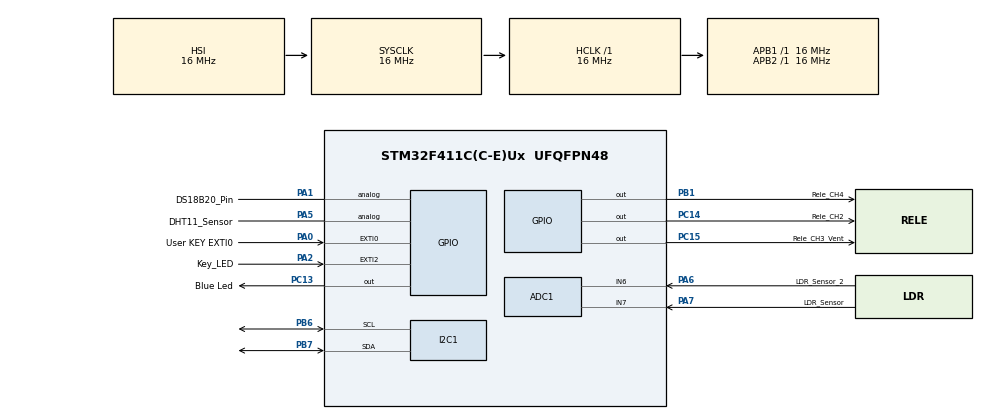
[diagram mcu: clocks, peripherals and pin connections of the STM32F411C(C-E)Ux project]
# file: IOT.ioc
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ADC1.Channel-3\#ChannelRegularConversion=ADC_CHANNEL_6
ADC1.Channel-4\#ChannelRegularConversion=ADC_CHANNEL_7
ADC1.ContinuousConvMode=DISABLE
ADC1.NbrOfConversion=2
ADC1.NbrOfConversionFlag=1
ADC1.Rank-3\#ChannelRegularConversion=1
ADC1.Rank-4\#ChannelRegularConversion=2
ADC1.SamplingTime-3\#ChannelRegularConversion=ADC_SAMPLETIME_3CYCLES
ADC1.SamplingTime-4\#ChannelRegularConversion=ADC_SAMPLETIME_3CYCLES
ADC1.ScanConvMode=ENABLE
ADC1.master=1
Dma.ADC1.0.Direction=DMA_PERIPH_TO_MEMORY
Dma.ADC1.0.FIFOMode=DMA_FIFOMODE_DISABLE
Dma.ADC1.0.Instance=DMA2_Stream0
Dma.ADC1.0.MemDataAlignment=DMA_MDATAALIGN_WORD
Dma.ADC1.0.MemInc=DMA_MINC_ENABLE
Dma.ADC1.0.Mode=DMA_CIRCULAR
Dma.ADC1.0.PeriphDataAlignment=DMA_PDATAALIGN_WORD
Dma.ADC1.0.PeriphInc=DMA_PINC_DISABLE
Dma.ADC1.0.Priority=DMA_PRIORITY_LOW
Dma.Request0=ADC1
FREERTOS.Mutexes01=LDR1Mutex,Dynamic,NULL,Available;LDR2Mutex,Dynamic,NULL,Available;DHT11Mutex,Dynamic,NULL,Available;DS18B20Mutex,Dynamic,NULL,Available
FREERTOS.Tasks01=defaultTask,24,128,StartDefaultTask,Default,NULL,Dynamic,NULL,NULL;ReleCH1Task,8,128,StartReleCH1Task,Default,NULL,Dynamic,NULL,NULL;ReleCH2Task,8,128,StartReleCH2Task,Default,NULL,Dynamic,NULL,NULL;ReleCH3Task,8,128,StartReleCH3Task,Default,NULL,Dynamic,NULL,NULL;ReleCH4Task,8,128,StartTeleCH4Task,Default,NULL,Dynamic,NULL,NULL
I2C1.I2C_Mode=I2C_Fast
Mcu.Family=STM32F4
Mcu.Name=STM32F411C(C-E)Ux
Mcu.Package=UFQFPN48
NVIC.ADC_IRQn=true\:5\:0\:false\:false\:true\:true\:true\:true\:true
NVIC.DMA2_Stream0_IRQn=true\:5\:0\:false\:false\:true\:true\:false\:true\:true
NVIC.EXTI0_IRQn=true\:5\:0\:false\:false\:true\:true\:true\:true\:true
NVIC.EXTI2_IRQn=true\:5\:0\:false\:false\:true\:true\:true\:true\:true
NVIC.I2C1_ER_IRQn=true\:5\:0\:false\:false\:true\:true\:true\:true\:true
NVIC.I2C1_EV_IRQn=true\:5\:0\:false\:false\:true\:true\:true\:true\:true
NVIC.PriorityGroup=NVIC_PRIORITYGROUP_4
NVIC.TIM1_UP_TIM10_IRQn=true\:15\:0\:false\:false\:true\:false\:false\:true\:true
NVIC.TIM2_IRQn=true\:15\:0\:false\:false\:true\:false\:true\:true\:true
NVIC.TimeBase=TIM1_UP_TIM10_IRQn
NVIC.TimeBaseIP=TIM10
PA0-WKUP.GPIO_Label=User KEY EXTI0
PA0-WKUP.GPIO_ModeDefaultEXTI=GPIO_MODE_IT_FALLING
PA0-WKUP.GPIO_PuPd=GPIO_PULLUP
PA0-WKUP.Signal=GPXTI0
PA1.GPIO_Label=DS18B20_Pin
PA1.Signal=GPIO_Analog
PA13.Mode=Serial_Wire
PA13.Signal=SYS_JTMS-SWDIO
PA14.Mode=Serial_Wire
PA14.Signal=SYS_JTCK-SWCLK
PA2.GPIO_Label=Key_LED
PA2.Signal=GPXTI2
PA5.GPIO_Label=DHT11_Sensor
PA5.Signal=GPIO_Analog
PA6.GPIO_Label=LDR_Sensor_2
PA6.Signal=SharedAnalog_PA6
PA7.GPIO_Label=LDR_Sensor
PA7.Signal=SharedAnalog_PA7
PB1.GPIO_Label=Rele_CH4
PB1.GPIO_ModeDefaultOutputPP=GPIO_MODE_OUTPUT_OD
PB1.GPIO_PuPd=GPIO_NOPULL
PB1.PinState=GPIO_PIN_SET
PB1.Signal=GPIO_Output
PB6.Mode=I2C
PB6.Signal=I2C1_SCL
PB7.Mode=I2C
PB7.Signal=I2C1_SDA
PC13-ANTI_TAMP.GPIO_Label=Blue Led
PC13-ANTI_TAMP.GPIO_ModeDefaultOutputPP=GPIO_MODE_OUTPUT_OD
PC13-ANTI_TAMP.GPIO_PuPd=GPIO_NOPULL
PC13-ANTI_TAMP.PinState=GPIO_PIN_SET
PC13-ANTI_TAMP.Signal=GPIO_Output
PC14-OSC32_IN.GPIO_Label=Rele_CH2
PC14-OSC32_IN.GPIO_ModeDefaultOutputPP=GPIO_MODE_OUTPUT_OD
PC14-OSC32_IN.GPIO_PuPd=GPIO_NOPULL
PC14-OSC32_IN.PinState=GPIO_PIN_SET
PC14-OSC32_IN.Signal=GPIO_Output
PC15-OSC32_OUT.GPIO_Label=Rele_CH3_Vent
PC15-OSC32_OUT.GPIO_ModeDefaultOutputPP=GPIO_MODE_OUTPUT_OD
PC15-OSC32_OUT.GPIO_PuPd=GPIO_NOPULL
PC15-OSC32_OUT.PinState=GPIO_PIN_SET
PC15-OSC32_OUT.Signal=GPIO_Output
PH0\ -\ OSC_IN.Mode=HSE-External-Oscillator
PH0\ -\ OSC_IN.Signal=RCC_OSC_IN
PH1\ -\ OSC_OUT.Mode=HSE-External-Oscillator
PH1\ -\ OSC_OUT.Signal=RCC_OSC_OUT
ProjectManager.HeapSize=0x200
ProjectManager.StackSize=0x400
ProjectManager.TargetToolchain=CMake
RCC.48MHZClocksFreq_Value=50000000
RCC.AHBFreq_Value=16000000
RCC.APB1Freq_Value=16000000
RCC.APB1TimFreq_Value=16000000
RCC.APB2Freq_Value=16000000
RCC.APB2TimFreq_Value=16000000
RCC.CortexFreq_Value=16000000
RCC.HCLKFreq_Value=16000000
RCC.HSE_VALUE=25000000
RCC.HSI_VALUE=16000000
RCC.LSE_VALUE=32768
RCC.PLLM=8
RCC.PLLN=100
RCC.SYSCLKFreq_VALUE=16000000
RCC.VCOOutputFreq_Value=200000000
SH.SharedAnalog_PA6.0=GPIO_Analog
SH.SharedAnalog_PA6.1=ADC1_IN6,IN6
SH.SharedAnalog_PA7.0=GPIO_Analog
SH.SharedAnalog_PA7.1=ADC1_IN7,IN7
TIM2.AutoReloadPreload=TIM_AUTORELOAD_PRELOAD_ENABLE
TIM2.Period=16000-1
TIM2.Prescaler=0
VP_FREERTOS_VS_CMSIS_V2.Mode=CMSIS_V2
VP_SYS_VS_tim10.Mode=TIM10
VP_TIM2_VS_ClockSourceINT.Mode=Internal
board=custom

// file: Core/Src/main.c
/* USER CODE BEGIN Header */
/**
  ******************************************************************************
  * @file           : main.c
  * @brief          : Main program body
  ******************************************************************************
  * @attention
  *
  * Copyright (c) 2025 STMicroelectronics.
  * All rights reserved.
  *
  * This software is licensed under terms that can be found in the LICENSE file
  * in the root directory of this software component.
  * If no LICENSE file comes with this software, it is provided AS-IS.
  *
  ******************************************************************************
  */
/* USER CODE END Header */
#include "main.h"
#include "cmsis_os.h"

/* USER CODE BEGIN Includes */
#include <stdbool.h>
//#include "DS18B20.hpp"
#include <stdio.h>
/* USER CODE END Includes */

/* USER CODE BEGIN PTD */
//#define DS18B20_GPIO_Port GPIOA
//#define DS18B20_Pin GPIO_PIN_1

/* USER CODE END PTD */

ADC_HandleTypeDef hadc1;
DMA_HandleTypeDef hdma_adc1;

I2C_HandleTypeDef hi2c1;

TIM_HandleTypeDef htim2;

/* Definitions for defaultTask */
osThreadId_t defaultTaskHandle;
const osThreadAttr_t defaultTask_attributes = {
  .name = "defaultTask",
  .stack_size = 128 * 4,
  .priority = (osPriority_t) osPriorityNormal,
};
/* Definitions for ReleCH1Task */
osThreadId_t ReleCH1TaskHandle;
const osThreadAttr_t ReleCH1Task_attributes = {
  .name = "ReleCH1Task",
  .stack_size = 128 * 4,
  .priority = (osPriority_t) osPriorityLow,
};
/* Definitions for ReleCH2Task */
osThreadId_t ReleCH2TaskHandle;
const osThreadAttr_t ReleCH2Task_attributes = {
  .name = "ReleCH2Task",
  .stack_size = 128 * 4,
  .priority = (osPriority_t) osPriorityLow,
};
/* Definitions for ReleCH3Task */
osThreadId_t ReleCH3TaskHandle;
const osThreadAttr_t ReleCH3Task_attributes = {
  .name = "ReleCH3Task",
  .stack_size = 128 * 4,
  .priority = (osPriority_t) osPriorityLow,
};
/* Definitions for ReleCH4Task */
osThreadId_t ReleCH4TaskHandle;
const osThreadAttr_t ReleCH4Task_attributes = {
  .name = "ReleCH4Task",
  .stack_size = 128 * 4,
  .priority = (osPriority_t) osPriorityLow,
};
/* Definitions for LDR1Mutex */
osMutexId_t LDR1MutexHandle;
const osMutexAttr_t LDR1Mutex_attributes = {
  .name = "LDR1Mutex"
};
/* Definitions for LDR2Mutex */
osMutexId_t LDR2MutexHandle;
const osMutexAttr_t LDR2Mutex_attributes = {
  .name = "LDR2Mutex"
};
/* Definitions for DHT11Mutex */
osMutexId_t DHT11MutexHandle;
const osMutexAttr_t DHT11Mutex_attributes = {
  .name = "DHT11Mutex"
};
/* Definitions for DS18B20Mutex */
osMutexId_t DS18B20MutexHandle;
const osMutexAttr_t DS18B20Mutex_attributes = {
  .name = "DS18B20Mutex"
};
/* USER CODE BEGIN PV */
bool BLUELED = 0;
bool LED_Test;
int LDRSENSOR, LDRSENSOR2;
float DS18B20_Sensor = 0.0f;
float temperature = 0.0f;
uint32_t adc_value = 0; // Variável para armazenar o valor do ADC
uint32_t AD_RES_BUFFER[2];
uint32_t ADC1IN6, ADC1IN7;
float voltage6, voltage7;
//uint32_t sensorA,sensorB;
/* USER CODE END PV */

void SystemClock_Config(void);
static void MX_GPIO_Init(void);
static void MX_DMA_Init(void);
static void MX_ADC1_Init(void);
static void MX_TIM2_Init(void);
static void MX_I2C1_Init(void);
void StartDefaultTask(void *argument);
void StartReleCH1Task(void *argument);
void StartReleCH2Task(void *argument);
void StartReleCH3Task(void *argument);
void StartTeleCH4Task(void *argument);

int main(void)
{

  /* MCU Configuration--------------------------------------------------------*/

  /* Reset of all peripherals, Initializes the Flash interface and the Systick. */
  HAL_Init();

  /* Configure the system clock */
  SystemClock_Config();

  /* Initialize all configured peripherals */
  MX_GPIO_Init();
  MX_DMA_Init();
  MX_ADC1_Init();
  MX_TIM2_Init();
  MX_I2C1_Init();
  /* USER CODE BEGIN 2 */
  HAL_TIM_Base_Start_IT(&htim2);

  //DS18B20 temp_sensor = DS18b20(&htim2, GPIOA, GPIO_PIN_1);

  /* USER CODE END 2 */

  /* Init scheduler */
  osKernelInitialize();
  /* Create the mutex(es) */
  /* creation of LDR1Mutex */
  LDR1MutexHandle = osMutexNew(&LDR1Mutex_attributes);

  /* creation of LDR2Mutex */
  LDR2MutexHandle = osMutexNew(&LDR2Mutex_attributes);

  /* creation of DHT11Mutex */
  DHT11MutexHandle = osMutexNew(&DHT11Mutex_attributes);

  /* creation of DS18B20Mutex */
  DS18B20MutexHandle = osMutexNew(&DS18B20Mutex_attributes);

  /* Create the thread(s) */
  /* creation of defaultTask */
  defaultTaskHandle = osThreadNew(StartDefaultTask, NULL, &defaultTask_attributes);

  /* creation of ReleCH1Task */
  ReleCH1TaskHandle = osThreadNew(StartReleCH1Task, NULL, &ReleCH1Task_attributes);

  /* creation of ReleCH2Task */
  ReleCH2TaskHandle = osThreadNew(StartReleCH2Task, NULL, &ReleCH2Task_attributes);

  /* creation of ReleCH3Task */
  ReleCH3TaskHandle = osThreadNew(StartReleCH3Task, NULL, &ReleCH3Task_attributes);

  /* creation of ReleCH4Task */
  ReleCH4TaskHandle = osThreadNew(StartTeleCH4Task, NULL, &ReleCH4Task_attributes);

  /* Start scheduler */
  osKernelStart();

  /* We should never get here as control is now taken by the scheduler */

  /* Infinite loop */
  /* USER CODE BEGIN WHILE */
  while (1)
  {
    //LDRSENSOR = HAL_GPIO_ReadPin(GPIOA, GPIO_PIN_7);
    /* USER CODE END WHILE */

  }
}

void SystemClock_Config(void)
{
  RCC_OscInitTypeDef RCC_OscInitStruct = {0};
  RCC_ClkInitTypeDef RCC_ClkInitStruct = {0};

  /** Configure the main internal regulator output voltage
  */
  __HAL_RCC_PWR_CLK_ENABLE();
  __HAL_PWR_VOLTAGESCALING_CONFIG(PWR_REGULATOR_VOLTAGE_SCALE1);

  /** Initializes the RCC Oscillators according to the specified parameters
  * in the RCC_OscInitTypeDef structure.
  */
  RCC_OscInitStruct.OscillatorType = RCC_OSCILLATORTYPE_HSI;
  RCC_OscInitStruct.HSIState = RCC_HSI_ON;
  RCC_OscInitStruct.HSICalibrationValue = RCC_HSICALIBRATION_DEFAULT;
  RCC_OscInitStruct.PLL.PLLState = RCC_PLL_NONE;
  if (HAL_RCC_OscConfig(&RCC_OscInitStruct) != HAL_OK)
  {
    Error_Handler();
  }

  /** Initializes the CPU, AHB and APB buses clocks
  */
  RCC_ClkInitStruct.ClockType = RCC_CLOCKTYPE_HCLK|RCC_CLOCKTYPE_SYSCLK
                              |RCC_CLOCKTYPE_PCLK1|RCC_CLOCKTYPE_PCLK2;
  RCC_ClkInitStruct.SYSCLKSource = RCC_SYSCLKSOURCE_HSI;
  RCC_ClkInitStruct.AHBCLKDivider = RCC_SYSCLK_DIV1;
  RCC_ClkInitStruct.APB1CLKDivider = RCC_HCLK_DIV1;
  RCC_ClkInitStruct.APB2CLKDivider = RCC_HCLK_DIV1;

  if (HAL_RCC_ClockConfig(&RCC_ClkInitStruct, FLASH_LATENCY_0) != HAL_OK)
  {
    Error_Handler();
  }
}

static void MX_ADC1_Init(void)
{

  ADC_ChannelConfTypeDef sConfig = {0};

  /** Configure the global features of the ADC (Clock, Resolution, Data Alignment and number of conversion)
  */
  hadc1.Instance = ADC1;
  hadc1.Init.ClockPrescaler = ADC_CLOCK_SYNC_PCLK_DIV2;
  hadc1.Init.Resolution = ADC_RESOLUTION_12B;
  hadc1.Init.ScanConvMode = ENABLE;
  hadc1.Init.ContinuousConvMode = DISABLE;
  hadc1.Init.DiscontinuousConvMode = DISABLE;
  hadc1.Init.ExternalTrigConvEdge = ADC_EXTERNALTRIGCONVEDGE_NONE;
  hadc1.Init.ExternalTrigConv = ADC_SOFTWARE_START;
  hadc1.Init.DataAlign = ADC_DATAALIGN_RIGHT;
  hadc1.Init.NbrOfConversion = 2;
  hadc1.Init.DMAContinuousRequests = DISABLE;
  hadc1.Init.EOCSelection = ADC_EOC_SINGLE_CONV;
  if (HAL_ADC_Init(&hadc1) != HAL_OK)
  {
    Error_Handler();
  }

  /** Configure for the selected ADC regular channel its corresponding rank in the sequencer and its sample time.
  */
  sConfig.Channel = ADC_CHANNEL_6;
  sConfig.Rank = 1;
  sConfig.SamplingTime = ADC_SAMPLETIME_3CYCLES;
  if (HAL_ADC_ConfigChannel(&hadc1, &sConfig) != HAL_OK)
  {
    Error_Handler();
  }

  /** Configure for the selected ADC regular channel its corresponding rank in the sequencer and its sample time.
  */
  sConfig.Channel = ADC_CHANNEL_7;
  sConfig.Rank = 2;
  if (HAL_ADC_ConfigChannel(&hadc1, &sConfig) != HAL_OK)
  {
    Error_Handler();
  }

}

static void MX_I2C1_Init(void)
{

  hi2c1.Instance = I2C1;
  hi2c1.Init.ClockSpeed = 400000;
  hi2c1.Init.DutyCycle = I2C_DUTYCYCLE_2;
  hi2c1.Init.OwnAddress1 = 0;
  hi2c1.Init.AddressingMode = I2C_ADDRESSINGMODE_7BIT;
  hi2c1.Init.DualAddressMode = I2C_DUALADDRESS_DISABLE;
  hi2c1.Init.OwnAddress2 = 0;
  hi2c1.Init.GeneralCallMode = I2C_GENERALCALL_DISABLE;
  hi2c1.Init.NoStretchMode = I2C_NOSTRETCH_DISABLE;
  if (HAL_I2C_Init(&hi2c1) != HAL_OK)
  {
    Error_Handler();
  }

}

static void MX_TIM2_Init(void)
{

  TIM_ClockConfigTypeDef sClockSourceConfig = {0};
  TIM_MasterConfigTypeDef sMasterConfig = {0};

  htim2.Instance = TIM2;
  htim2.Init.Prescaler = 0;
  htim2.Init.CounterMode = TIM_COUNTERMODE_UP;
  htim2.Init.Period = 16000-1;
  htim2.Init.ClockDivision = TIM_CLOCKDIVISION_DIV1;
  htim2.Init.AutoReloadPreload = TIM_AUTORELOAD_PRELOAD_ENABLE;
  if (HAL_TIM_Base_Init(&htim2) != HAL_OK)
  {
    Error_Handler();
  }
  sClockSourceConfig.ClockSource = TIM_CLOCKSOURCE_INTERNAL;
  if (HAL_TIM_ConfigClockSource(&htim2, &sClockSourceConfig) != HAL_OK)
  {
    Error_Handler();
  }
  sMasterConfig.MasterOutputTrigger = TIM_TRGO_RESET;
  sMasterConfig.MasterSlaveMode = TIM_MASTERSLAVEMODE_DISABLE;
  if (HAL_TIMEx_MasterConfigSynchronization(&htim2, &sMasterConfig) != HAL_OK)
  {
    Error_Handler();
  }

}

static void MX_DMA_Init(void)
{

  /* DMA controller clock enable */
  __HAL_RCC_DMA2_CLK_ENABLE();

  /* DMA interrupt init */
  /* DMA2_Stream0_IRQn interrupt configuration */
  HAL_NVIC_SetPriority(DMA2_Stream0_IRQn, 5, 0);
  HAL_NVIC_EnableIRQ(DMA2_Stream0_IRQn);

}

static void MX_GPIO_Init(void)
{
  GPIO_InitTypeDef GPIO_InitStruct = {0};

  /* GPIO Ports Clock Enable */
  __HAL_RCC_GPIOC_CLK_ENABLE();
  __HAL_RCC_GPIOH_CLK_ENABLE();
  __HAL_RCC_GPIOA_CLK_ENABLE();
  __HAL_RCC_GPIOB_CLK_ENABLE();

  /*Configure GPIO pin Output Level */
  HAL_GPIO_WritePin(GPIOC, Blue_Led_Pin|Rele_CH2_Pin|Rele_CH3_Vent_Pin, GPIO_PIN_SET);

  /*Configure GPIO pin Output Level */
  HAL_GPIO_WritePin(Rele_CH4_GPIO_Port, Rele_CH4_Pin, GPIO_PIN_SET);

  /*Configure GPIO pins : Blue_Led_Pin Rele_CH2_Pin Rele_CH3_Vent_Pin */
  GPIO_InitStruct.Pin = Blue_Led_Pin|Rele_CH2_Pin|Rele_CH3_Vent_Pin;
  GPIO_InitStruct.Mode = GPIO_MODE_OUTPUT_OD;
  GPIO_InitStruct.Pull = GPIO_NOPULL;
  GPIO_InitStruct.Speed = GPIO_SPEED_FREQ_LOW;
  HAL_GPIO_Init(GPIOC, &GPIO_InitStruct);

  /*Configure GPIO pin : User_KEY_EXTI0_Pin */
  GPIO_InitStruct.Pin = User_KEY_EXTI0_Pin;
  GPIO_InitStruct.Mode = GPIO_MODE_IT_FALLING;
  GPIO_InitStruct.Pull = GPIO_PULLUP;
  HAL_GPIO_Init(User_KEY_EXTI0_GPIO_Port, &GPIO_InitStruct);

  /*Configure GPIO pins : DS18B20_Pin_Pin DHT11_Sensor_Pin */
  GPIO_InitStruct.Pin = DS18B20_Pin_Pin|DHT11_Sensor_Pin;
  GPIO_InitStruct.Mode = GPIO_MODE_ANALOG;
  GPIO_InitStruct.Pull = GPIO_NOPULL;
  HAL_GPIO_Init(GPIOA, &GPIO_InitStruct);

  /*Configure GPIO pin : Key_LED_Pin */
  GPIO_InitStruct.Pin = Key_LED_Pin;
  GPIO_InitStruct.Mode = GPIO_MODE_IT_RISING;
  GPIO_InitStruct.Pull = GPIO_NOPULL;
  HAL_GPIO_Init(Key_LED_GPIO_Port, &GPIO_InitStruct);

  /*Configure GPIO pin : Rele_CH4_Pin */
  GPIO_InitStruct.Pin = Rele_CH4_Pin;
  GPIO_InitStruct.Mode = GPIO_MODE_OUTPUT_OD;
  GPIO_InitStruct.Pull = GPIO_NOPULL;
  GPIO_InitStruct.Speed = GPIO_SPEED_FREQ_LOW;
  HAL_GPIO_Init(Rele_CH4_GPIO_Port, &GPIO_InitStruct);

  /* EXTI interrupt init*/
  HAL_NVIC_SetPriority(EXTI0_IRQn, 5, 0);
  HAL_NVIC_EnableIRQ(EXTI0_IRQn);

  HAL_NVIC_SetPriority(EXTI2_IRQn, 5, 0);
  HAL_NVIC_EnableIRQ(EXTI2_IRQn);

}

void StartDefaultTask(void *argument)
{
  for(;;)
  {
    osDelay(1);
  }
}

void StartReleCH1Task(void *argument)
{
  /* USER CODE BEGIN StartReleCH1Task */
  /* Infinite loop */
  for(;;)
  {
      if (BLUELED)
        HAL_GPIO_WritePin(GPIOC, GPIO_PIN_13, GPIO_PIN_RESET); // Rele CH1 ON
      else
        HAL_GPIO_WritePin(GPIOC, GPIO_PIN_13, GPIO_PIN_SET); // Rele CH1 OFF

    osDelay(1);
  }
  /* USER CODE END StartReleCH1Task */
}

void StartReleCH2Task(void *argument)
{
  /* USER CODE BEGIN StartReleCH2Task */
  /* Infinite loop */
  for(;;)
  {
    if (ADC1IN7 > 3000)
      HAL_GPIO_WritePin(GPIOC, GPIO_PIN_14, GPIO_PIN_RESET); // Rele CH1 ON
    else
      HAL_GPIO_WritePin(GPIOC, GPIO_PIN_14, GPIO_PIN_SET); // Rele CH1 OFF

    LDRSENSOR = ADC1IN7;
    osDelay(500);
  }
  /* USER CODE END StartReleCH2Task */
}

void StartReleCH3Task(void *argument)
{
  /* USER CODE BEGIN StartReleCH3Task */
  /* Infinite loop */
  for(;;)
  {

    //temperature = temp_sensor.read_temp_celsius();
    if (temperature > 25)
      HAL_GPIO_WritePin(GPIOC, GPIO_PIN_15, GPIO_PIN_RESET); // Rele CH3 ON - Ventilador
    else
      HAL_GPIO_WritePin(GPIOC, GPIO_PIN_15, GPIO_PIN_SET); // Rele CH3 OFF - Ventilador
    osDelay(1);
  }
  /* USER CODE END StartReleCH3Task */
}

void StartTeleCH4Task(void *argument)
{
  /* USER CODE BEGIN StartTeleCH4Task */
  /* Infinite loop */
  for(;;)
  {
    if (ADC1IN6 < 1700)

      HAL_GPIO_WritePin(GPIOB, GPIO_PIN_1, GPIO_PIN_RESET); // Rele CH4 ON
    else
      HAL_GPIO_WritePin(GPIOB, GPIO_PIN_1, GPIO_PIN_SET); // Rele CH4 OFF

    LDRSENSOR2 = ADC1IN6;
    osDelay(500);
  }
  /* USER CODE END StartTeleCH4Task */
}

void HAL_TIM_PeriodElapsedCallback(TIM_HandleTypeDef *htim)
{
  if (htim->Instance == TIM10) {
    HAL_IncTick();
  }
}

void Error_Handler(void)
{
  __disable_irq();
  while (1)
  {
  }
}
